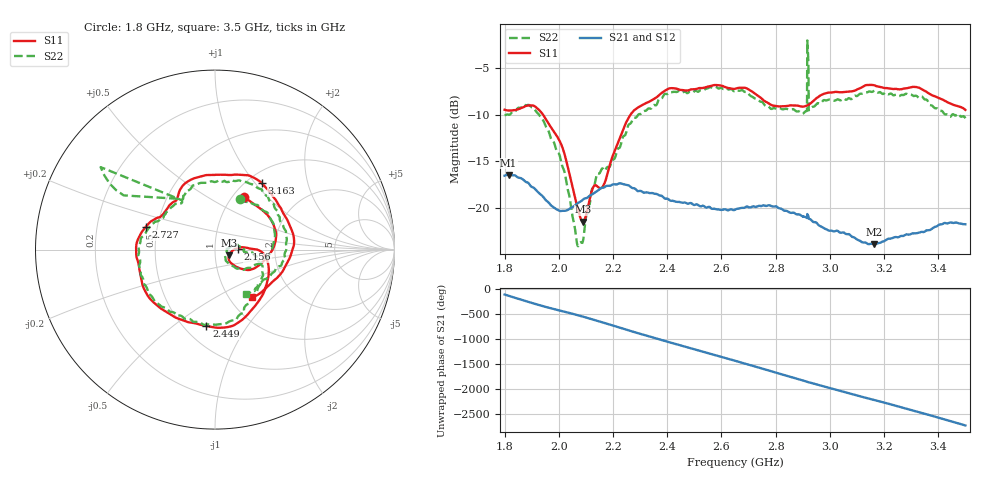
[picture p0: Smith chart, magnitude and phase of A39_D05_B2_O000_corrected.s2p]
! Created with skrf 1.9.0 (http://scikit-rf.org).
# Hz S RI R 50.0
!freq ReS11 ImS11 ReS21 ImS21 ReS12 ImS12 ReS22 ImS22
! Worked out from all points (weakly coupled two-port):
!   1601 points, 1.8 GHz to 3.5 GHz, reference 50 ohm
!   highest |S21| = -16.44 dB at 1.815 GHz (marker M1); lowest = -23.8 dB at 3.163 GHz (marker M2)
!   lowest |S11| = -21.4 dB at 2.089 GHz (marker M3), VSWR 1.19, Z = 58.4 - j3.82 ohm
!   |S11| at or under -10 dB: 1.942 GHz to 2.265 GHz (323.4 MHz wide, 15.4 % of centre)
!   |S22| runs from -24.0 to -2.1 dB; largest |S21 - S12| = 0.0027
!   S11 on the Smith chart (normalised r, x): 1.8 GHz: 1.13, +0.75; 2.156 GHz: 1.29, +0.01; 2.449 GHz: 0.64, -0.66; 2.727 GHz: 0.43, +0.13; 3.163 GHz: 1.16, +1.08; 3.5 GHz: 1.27, -0.75
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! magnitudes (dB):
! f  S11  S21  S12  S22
! 1.8 GHz  -9.5  -16.5  -16.5  -10.1
! 1.815 GHz  -9.6  -16.4  -16.4  -10.0
! 1.886 GHz  -9.0  -17.3  -17.3  -9.0
! 1.941 GHz  -10.0  -18.7  -18.7  -10.6
! 2.013 GHz  -13.5  -20.3  -20.3  -15.5
! 2.067 GHz  -19.7  -19.5  -19.5  -23.7
! 2.084 GHz  -21.3  -19.2  -19.2  -23.7
! 2.089 GHz  -21.4  -19.1  -19.1  -23.5
! 2.127 GHz  -17.7  -18.4  -18.4  -17.8
! 2.156 GHz  -17.8  -17.8  -17.9  -15.9
! 2.262 GHz  -10.1  -17.6  -17.7  -11.0
! 2.367 GHz  -8.0  -18.6  -18.5  -8.5
! 2.449 GHz  -7.4  -19.4  -19.4  -7.5
! 2.65 GHz  -7.3  -20.1  -20.1  -7.5
! 2.727 GHz  -7.8  -19.9  -19.9  -8.3
! 2.9 GHz  -9.2  -20.9  -20.9  -9.9
! 2.925 GHz  -8.9  -21.1  -21.1  -9.5
! 2.934 GHz  -8.7  -21.3  -21.3  -9.2
! 3.163 GHz  -6.9  -23.8  -23.8  -7.5
! 3.217 GHz  -7.2  -23.2  -23.2  -7.8
! 3.324 GHz  -7.1  -22.6  -22.6  -8.1
! 3.5 GHz  -9.5  -21.7  -21.7  -10.4
